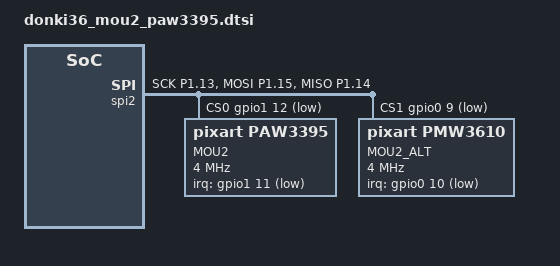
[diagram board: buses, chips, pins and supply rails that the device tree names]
/*
 * Copyright (c) 2020 Pete Johanson
 *
 * SPDX-License-Identifier: MIT
 */

&pinctrl {
	spi2_default: spi2_default {
		group1 {
			psels = <NRF_PSEL(SPIM_SCK, 1, 13)>,
							<NRF_PSEL(SPIM_MOSI, 1, 15)>,
							<NRF_PSEL(SPIM_MISO, 1, 14)>;
		};
	};
	spi2_sleep: spi2_sleep {
		group1 {
			psels = <NRF_PSEL(SPIM_SCK, 1, 13)>,
							<NRF_PSEL(SPIM_MOSI, 1, 15)>,
							<NRF_PSEL(SPIM_MISO, 1, 14)>;
			low-power-enable;
		};
	};
};

// release gpio1 11 & 12 from xiao_ble-pinctrl.dtsi
// for &trackball { irq-gpios }
&uart0 {
	status = "disabled";
};

&spi2 {
	compatible = "nordic,nrf-spim";
	status = "disabled"; // <<< disabled in main .dtsi, okay in .overlay
	mou2: pd@0 {
		compatible = "pixart,paw3395";
		status = "disabled";
		label = "MOU2";
		reg = <0>;
		spi-max-frequency = <4000000>;
	};
	mou2_alt: pd@1 {
		compatible = "pixart,pmw3610";
		status = "disabled";
		label = "MOU2_ALT";
		reg = <1>;
		spi-max-frequency = <4000000>;
	};
};

// Config custom gpios
&spi2 {
  status = "okay";
	pinctrl-0 = <&spi2_default>;
	pinctrl-1 = <&spi2_sleep>;
	pinctrl-names = "default", "sleep";
	cs-gpios = <&gpio1 12 GPIO_ACTIVE_LOW>
	         , <&gpio0 9 GPIO_ACTIVE_LOW>; // NFC 1
};

#include <zephyr/dt-bindings/input/input-event-codes.h>

&mou2 {
  status = "okay";
	irq-gpios = <&gpio1 11 (GPIO_ACTIVE_LOW | GPIO_PULL_UP)>;
	cpi = <1650>;
	invert-y;
	evt-type = <INPUT_EV_REL>;
	x-input-code = <INPUT_REL_X>;
	y-input-code = <INPUT_REL_Y>;
	force-awake;
};

&mou2_alt {
  status = "okay";
	irq-gpios = <&gpio0 10 (GPIO_ACTIVE_LOW | GPIO_PULL_UP)>; // NFC 2
	cpi = <800>;
	swap-xy;
	evt-type = <INPUT_EV_REL>;
	x-input-code = <INPUT_REL_X>;
	y-input-code = <INPUT_REL_Y>;
	force-awake;
	// force-awake-4ms-mode;
};
